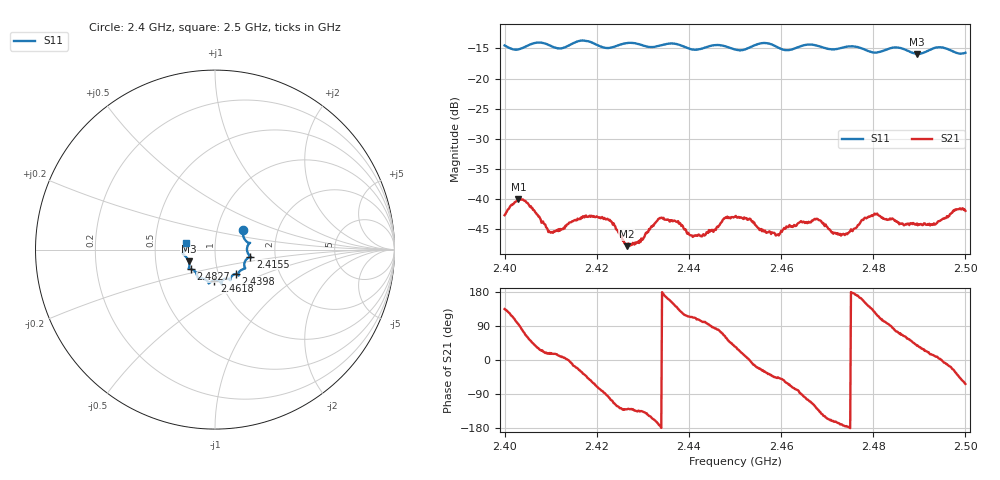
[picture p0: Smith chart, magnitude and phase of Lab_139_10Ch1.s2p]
# Hz S RI R 50
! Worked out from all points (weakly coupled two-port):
!   601 points, 2.4 GHz to 2.5 GHz, reference 50 ohm
!   highest |S21| = -40.04 dB at 2.403 GHz (marker M1); lowest = -47.9 dB at 2.4265 GHz (marker M2)
!   lowest |S11| = -15.9 dB at 2.4895 GHz (marker M3), VSWR 1.38, Z = 37 - j5 ohm
!   |S11| at or under -10 dB: start of sweep to end of sweep
!   S12 and S22 are empty: the file has one direction only
!   S11 on the Smith chart (normalised r, x): 2.4 GHz: 1.33, +0.29; 2.4155 GHz: 1.49, -0.12; 2.4398 GHz: 1.21, -0.34; 2.4618 GHz: 0.94, -0.33; 2.4827 GHz: 0.75, -0.17; 2.5 GHz: 0.72, +0.06
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2.4e9  0.1554 0.1068  -0.00511 0.0052  0 0  0 0
2.403e9  0.1646 0.0588  -0.000748 0.00992  0 0  0 0
2.41e9  0.1852 0.0267  0.005 0.00147  0 0  0 0
2.4155e9  0.1978 -0.0395  0.00619 -0.00226  0 0  0 0
2.416667e9  0.2026 -0.0428  0.00601 -0.00362  0 0  0 0
2.422667e9  0.1644 -0.0724  -0.0011 -0.00651  0 0  0 0
2.4265e9  0.1683 -0.103  -0.00259 -0.00307  0 0  0 0
2.429667e9  0.1564 -0.1089  -0.00328 -0.00331  0 0  0 0
2.433333e9  0.1295 -0.1342  -0.00662 -0.00137  0 0  0 0
2.437167e9  0.131 -0.1431  -0.00502 0.00405  0 0  0 0
2.439833e9  0.1152 -0.1359  -0.0022 0.00471  0 0  0 0
2.443167e9  0.0876 -0.1563  -0.000951 0.00497  0 0  0 0
2.45e9  0.0649 -0.1617  0.00575 0.00408  0 0  0 0
2.459167e9  0.0295 -0.1802  0.00339 -0.00371  0 0  0 0
2.461833e9  -0.00303 -0.1728  0.00256 -0.00547  0 0  0 0
2.466667e9  -0.0346 -0.1884  -0.00261 -0.00601  0 0  0 0
2.4735e9  -0.0853 -0.1602  -0.00506 -0.00063  0 0  0 0
2.480167e9  -0.1113 -0.1212  -0.00454 0.00586  0 0  0 0
2.482667e9  -0.135 -0.1086  -0.00119 0.00663  0 0  0 0
2.483333e9  -0.1401 -0.1083  -0.000524 0.00668  0 0  0 0
2.4895e9  -0.146 -0.0659  0.00493 0.00378  0 0  0 0
2.5e9  -0.1592 0.0391  0.00357 -0.00707  0 0  0 0
